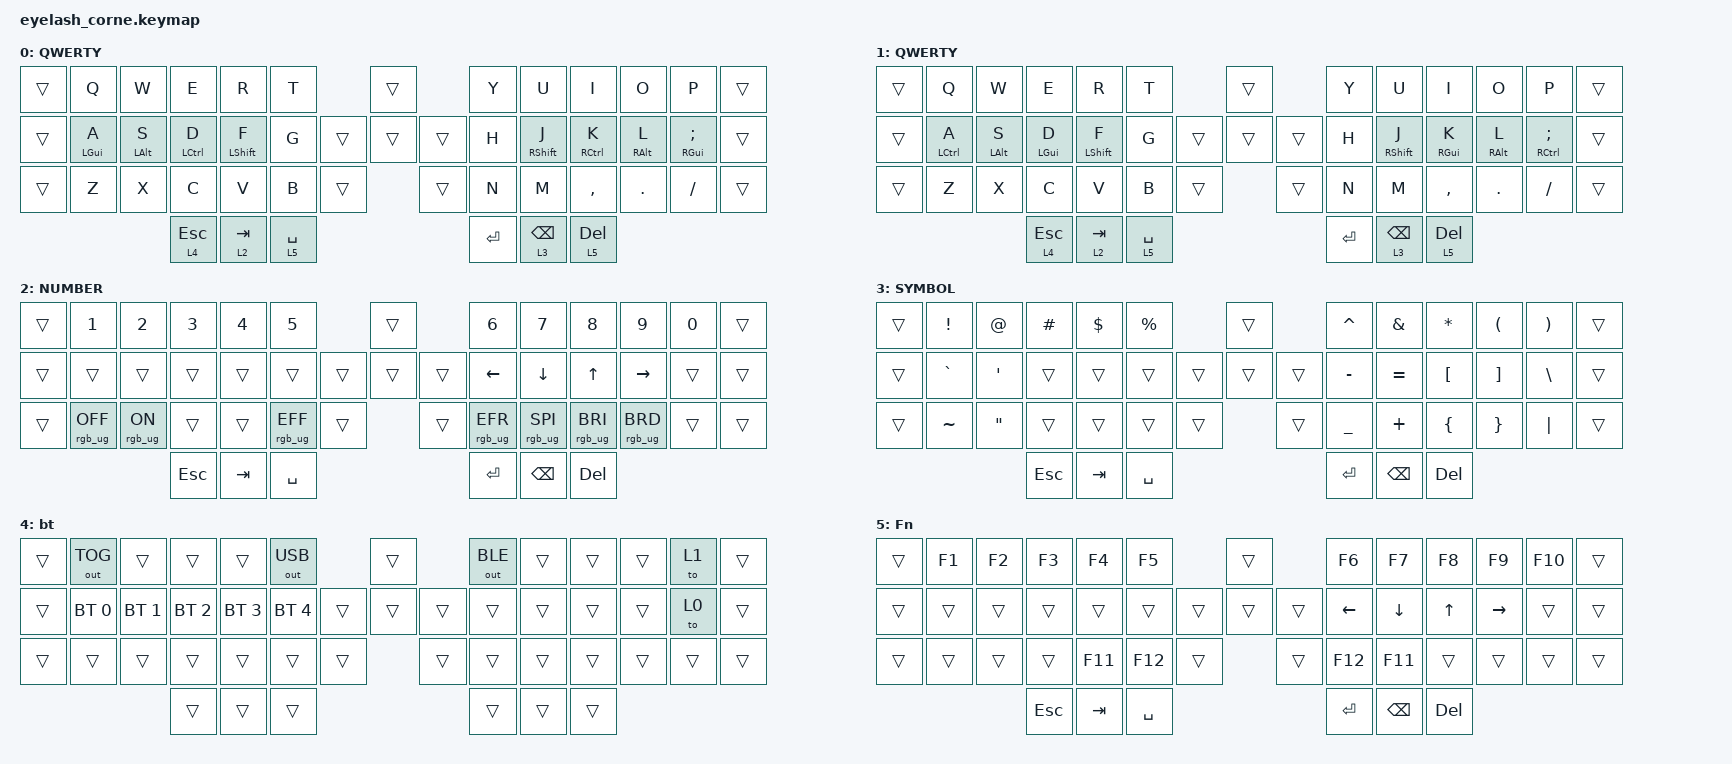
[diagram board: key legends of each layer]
#define ZMK_POINTING_DEFAULT_MOVE_VAL 1200  // 600
#define ZMK_POINTING_DEFAULT_SCRL_VAL 25   // 10

#include <input/processors.dtsi>
#include <zephyr/dt-bindings/input/input-event-codes.h>
#include <behaviors.dtsi>
#include <dt-bindings/zmk/bt.h>
#include <dt-bindings/zmk/keys.h>
#include <dt-bindings/zmk/outputs.h>
#include <dt-bindings/zmk/pointing.h>
#include <dt-bindings/zmk/rgb.h>

&mmv_input_listener { input-processors = <&zip_xy_scaler 2 1>; };

&msc_input_listener { input-processors = <&zip_scroll_scaler 2 1>; };

&msc {
    acceleration-exponent = <1>;      // 0
    time-to-max-speed-ms = <100>;       // 300
    delay-ms = <0>;                   // 0
};

&mmv {
    time-to-max-speed-ms = <500>;
    acceleration-exponent = <1>;
    trigger-period-ms = <16>;
};

&soft_off { hold-time-ms = <2000>; };

/ {
    behaviors {
        td0: td0 {
            compatible = "zmk,behavior-tap-dance";
            display-name = "Shift/Caps Lock Tap Dance";
            #binding-cells = <0>;
            bindings = <&kp LEFT_SHIFT>, <&kp CAPS>;
        };

        ht: hold_tap {
            compatible = "zmk,behavior-hold-tap";
            label = "Hold-Tap";
            bindings = <&kp>, <&kp>;

            #binding-cells = <2>;
            tapping-term-ms = <220>;
            quick-tap-ms = <150>;
            require-prior-idle-ms = <100>;
            flavor = "balanced";
        };

        htmo: htmo {
            compatible = "zmk,behavior-hold-tap";
            label = "HTMO";
            bindings = <&mo>, <&kp>;

            #binding-cells = <2>;
            tapping-term-ms = <220>;
            quick-tap-ms = <150>;
            require-prior-idle-ms = <100>;
        };
    };

    rgb_encoder: rgb_encoder {
        compatible = "zmk,behavior-sensor-rotate";
        #sensor-binding-cells = <0>;
        bindings = <&rgb_ug RGB_BRI>, <&rgb_ug RGB_BRD>;
    };

    scroll_encoder: scroll_encoder {
        compatible = "zmk,behavior-sensor-rotate";
        #sensor-binding-cells = <0>;
        bindings = <&msc SCRL_DOWN>, <&msc SCRL_UP>;

        tap-ms = <100>;
    };

    combos {
        compatible = "zmk,combos";

        softoff {
            bindings = <&soft_off>;
            key-positions = <1 15 29>;
        };
    };

    keymap {
        compatible = "zmk,keymap";

        default_layer {
            display-name = "QWERTY";
            bindings = <
&trans  &kp Q           &kp W       &kp E               &kp R             &kp T                          &trans          &kp Y    &kp U              &kp I                &kp O       &kp P               &trans
&trans  &ht LEFT_GUI A  &ht LALT S  &ht LEFT_CONTROL D  &ht LEFT_SHIFT F  &kp G                  &trans  &trans  &trans  &kp H    &ht RIGHT_SHIFT J  &ht RIGHT_CONTROL K  &ht RALT L  &ht RIGHT_GUI SEMI  &trans
&trans  &kp Z           &kp X       &kp C               &kp V             &kp B        &trans            &trans          &kp N    &kp M              &kp COMMA            &kp DOT     &kp FSLH            &trans
                                    &htmo 4 ESC         &htmo 2 TAB       &lt 5 SPACE                                    &kp RET  &htmo 3 BACKSPACE  &htmo 5 DEL
            >;
        };

        pc_layer {
            display-name = "QWERTY";
            bindings = <
&trans  &kp Q        &kp W       &kp E           &kp R             &kp T                          &trans          &kp Y    &kp U              &kp I            &kp O       &kp P           &trans
&trans  &ht LCTRL A  &ht LALT S  &ht LEFT_GUI D  &ht LEFT_SHIFT F  &kp G                  &trans  &trans  &trans  &kp H    &ht RIGHT_SHIFT J  &ht RIGHT_GUI K  &ht RALT L  &ht RCTRL SEMI  &trans
&trans  &kp Z        &kp X       &kp C           &kp V             &kp B        &trans            &trans          &kp N    &kp M              &kp COMMA        &kp DOT     &kp FSLH        &trans
                                 &htmo 4 ESC     &htmo 2 TAB       &lt 5 SPACE                                    &kp RET  &htmo 3 BACKSPACE  &htmo 5 DEL
            >;
        };

        num {
            display-name = "NUMBER";
            bindings = <
&trans  &kp N1           &kp N2          &kp N3   &kp N4   &kp N5                             &trans          &kp N6           &kp N7           &kp N8           &kp N9           &kp N0  &trans
&trans  &trans           &trans          &trans   &trans   &trans                     &trans  &trans  &trans  &kp LEFT         &kp DOWN         &kp UP           &kp RIGHT        &trans  &trans
&trans  &rgb_ug RGB_OFF  &rgb_ug RGB_ON  &trans   &trans   &rgb_ug RGB_EFF  &trans            &trans          &rgb_ug RGB_EFR  &rgb_ug RGB_SPI  &rgb_ug RGB_BRI  &rgb_ug RGB_BRD  &trans  &trans
                                         &kp ESC  &kp TAB  &kp SPACE                                          &kp RET          &kp BACKSPACE    &kp DELETE
            >;
        };

        symb {
            display-name = "SYMBOL";
            bindings = <
&trans  &kp EXCL   &kp AT             &kp HASH  &kp DLLR  &kp PRCNT                    &trans          &kp CARET  &kp AMPS       &kp ASTRK   &kp LPAR  &kp RPAR  &trans
&trans  &kp GRAVE  &kp SINGLE_QUOTE   &trans    &trans    &trans               &trans  &trans  &trans  &kp MINUS  &kp EQUAL      &kp LBKT    &kp RBKT  &kp BSLH  &trans
&trans  &kp TILDE  &kp DOUBLE_QUOTES  &trans    &trans    &trans     &trans            &trans          &kp UNDER  &kp PLUS       &kp LBRC    &kp RBRC  &kp PIPE  &trans
                                      &kp ESC   &kp TAB   &kp SPACE                                    &kp RET    &kp BACKSPACE  &kp DELETE
            >;
        };

        bt {
            bindings = <
&trans  &out OUT_TOG  &trans        &trans        &trans        &out OUT_USB                    &trans          &out OUT_BLE  &trans  &trans  &trans  &to 1   &trans
&trans  &bt BT_SEL 0  &bt BT_SEL 1  &bt BT_SEL 2  &bt BT_SEL 3  &bt BT_SEL 4            &trans  &trans  &trans  &trans        &trans  &trans  &trans  &to 0   &trans
&trans  &trans        &trans        &trans        &trans        &trans        &trans            &trans          &trans        &trans  &trans  &trans  &trans  &trans
                                    &trans        &trans        &trans                                          &trans        &trans  &trans
            >;
        };

        fn {
            display-name = "Fn";
            bindings = <
&trans  &kp F1  &kp F2  &kp F3   &kp F4   &kp F5                       &trans          &kp F6    &kp F7         &kp F8      &kp F9     &kp F10  &trans
&trans  &trans  &trans  &trans   &trans   &trans               &trans  &trans  &trans  &kp LEFT  &kp DOWN       &kp UP      &kp RIGHT  &trans   &trans
&trans  &trans  &trans  &trans   &kp F11  &kp F12    &trans            &trans          &kp F12   &kp F11        &trans      &trans     &trans   &trans
                        &kp ESC  &kp TAB  &kp SPACE                                    &kp RET   &kp BACKSPACE  &kp DELETE
            >;
        };
    };
};
